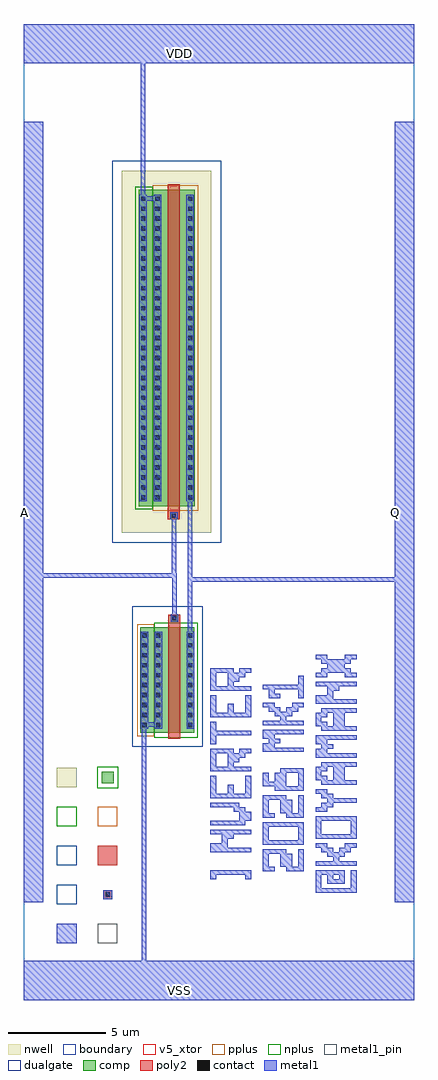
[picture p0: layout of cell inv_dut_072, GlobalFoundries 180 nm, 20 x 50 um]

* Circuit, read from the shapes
.subckt inv_dut_072 A Q VDD VSS
XM1 Q A VSS VSS nfet_05v0 w=5.4u l=0.6u
XM2 Q A VDD VDD pfet_05v0 w=16.2u l=0.6u
.ends

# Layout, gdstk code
from math import pi, radians
import gdstk
lib = gdstk.Library(unit=1e-6, precision=1e-09)
def R(c, l, rs):  # rectangles x0, y0, x1, y1
    for r in rs: c.add(gdstk.rectangle(r[:2], r[2:], *l))
def A(c, l, x, y, w, h, nx, ny, dx, dy):  # array of equal rectangles
    R(c, l, [(x+i*dx, y+j*dy, x+i*dx+w, y+j*dy+h) for i in range(nx) for j in range(ny)])
def P(c, l, *ps):  # polygons
    for p in ps: c.add(gdstk.Polygon(p, *l))
boundary = (0, 0)
nwell = (21, 0)
comp = (22, 0)
poly2 = (30, 0)
pplus = (31, 0)
nplus = (32, 0)
contact = (33, 0)
metal1 = (34, 0)
metal1_pin = (34, 10)
dualgate = (55, 0)
v5_xtor = (112, 1)

pfet = lib.new_cell('pfet')
R(pfet, nwell, [(-1.32,-0.99,3.27,17.57)])
R(pfet, comp, [(-0.46,0,2.41,16.2)])
R(pfet, poly2, [(0.31,-0.3,0.91,16.88)])
R(pfet, pplus, [(-0.63,-0.24,1.68,16.44)])
R(pfet, nplus, [(1.68,-0.17,2.58,16.37)])
A(pfet, contact, -0.34, 0.34, 0.22, 0.22, 1, 31, 0, 0.51)
A(pfet, contact, 1.34, 0.34, 0.22, 0.22, 1, 31, 0, 0.51)
A(pfet, contact, 2.07, 0.34, 0.22, 0.22, 1, 31, 0, 0.51)
R(pfet, contact, [(0.5,16.58,0.72,16.8)])
R(pfet, metal1, [(-0.42,0.26,-0.04,15.94), (1.26,0.26,1.64,15.94), (1.99,0.26,2.37,15.94), (0.42,16.5,0.8,16.88)])
R(pfet, dualgate, [(-1.82,-1.49,3.77,18.07)])
R(pfet, v5_xtor, [(-1.82,-1.49,3.77,18.07)])

nfet = lib.new_cell('nfet')
R(nfet, comp, [(-0.42,0,2.35,5.4)])
R(nfet, poly2, [(0.31,-0.66,0.91,5.7)])
R(nfet, pplus, [(1.64,-0.17,2.52,5.57)])
R(nfet, nplus, [(-0.59,-0.24,1.64,5.64)])
A(nfet, contact, -0.32, 0.295, 0.22, 0.22, 1, 10, 0, 0.51)
A(nfet, contact, 1.32, 0.295, 0.22, 0.22, 1, 10, 0, 0.51)
A(nfet, contact, 2.03, 0.295, 0.22, 0.22, 1, 10, 0, 0.51)
R(nfet, contact, [(0.5,-0.59,0.72,-0.37)])
R(nfet, metal1, [(0.42,-0.67,0.8,-0.29), (-0.4,0.215,-0.02,5.185), (1.24,0.215,1.62,5.185), (1.95,0.215,2.33,5.185)])
R(nfet, dualgate, [(-0.84,-1.08,2.77,6.11)])
R(nfet, v5_xtor, [(-0.84,-1.08,2.77,6.11)])

inv_dut_072 = lib.new_cell('inv_dut_072')
R(inv_dut_072, boundary, [(-10,-25,10,25)])
R(inv_dut_072, nwell, [(-8.3,-14.1,-7.3,-13.1)])
R(inv_dut_072, comp, [(-6,-13.9,-5.4,-13.3)])
R(inv_dut_072, poly2, [(-5.93,-19.83,-5.47,-19.37), (-6.2,-18.1,-5.2,-17.1)])
R(inv_dut_072, pplus, [(-6.2,-16.1,-5.2,-15.1)])
R(inv_dut_072, nplus, [(-8.3,-16.1,-7.3,-15.1), (-6.24,-14.14,-5.16,-13.06)])
R(inv_dut_072, contact, [(-5.81,-19.71,-5.59,-19.49)])
R(inv_dut_072, metal1, [(-10,-25,10,-23), (-8.3,-22.1,-7.3,-21.1), (-10,-20,-9,20), (9,-20,10,20), (-5.93,-19.83,-5.47,-19.37), (-10,23,10,25)])
P(inv_dut_072, metal1, [(-0.45,-18.805),(-0.45,-18.345),(1.65,-18.345),(1.65,-18.805),(1.35,-18.805),(1.35,-18.575),(-0.15,-18.575),(-0.15,-18.805)],
  [(4.95,-19.495),(4.95,-18.575),(5.85,-18.575),(5.85,-18.805),(6.15,-18.805),(6.15,-18.575),(4.95,-18.575),(4.95,-18.345),(6.45,-18.345),(6.45,-19.035),(5.55,-19.035),(5.55,-18.575),(5.25,-18.575),(5.25,-19.265),(6.75,-19.265),(6.75,-18.345),(7.05,-18.345),(7.05,-19.495)],
  [(2.25,-18.415),(2.25,-17.265),(3.45,-17.265),(3.45,-17.495),(3.75,-17.495),(3.75,-18.185),(4.05,-18.185),(4.05,-17.265),(4.35,-17.265),(4.35,-18.415),(3.45,-18.415),(3.45,-18.185),(3.15,-18.185),(3.15,-17.495),(2.55,-17.495),(2.55,-18.185),(2.85,-18.185),(2.85,-18.415)],
  [(4.95,-18.115),(4.95,-17.885),(5.85,-17.885),(5.85,-17.655),(5.55,-17.655),(5.55,-17.425),(5.25,-17.425),(5.25,-17.195),(4.95,-17.195),(4.95,-16.965),(5.55,-16.965),(5.55,-17.195),(5.85,-17.195),(5.85,-17.425),(6.15,-17.425),(6.15,-17.195),(6.45,-17.195),(6.45,-16.965),(7.05,-16.965),(7.05,-17.195),(6.75,-17.195),(6.75,-17.425),(6.45,-17.425),(6.45,-17.655),(6.15,-17.655),(6.15,-17.885),(7.05,-17.885),(7.05,-18.115)],
  [(-0.45,-17.425),(-0.45,-16.965),(0.15,-16.965),(0.15,-16.505),(-0.45,-16.505),(-0.45,-16.275),(1.65,-16.275),(1.65,-16.505),(0.75,-16.505),(0.75,-16.735),(0.45,-16.735),(0.45,-17.195),(1.65,-17.195),(1.65,-17.425)],
  [(2.25,-17.035),(2.25,-16.115),(2.55,-16.115),(2.55,-16.805),(4.05,-16.805),(4.05,-16.115),(2.25,-16.115),(2.25,-15.885),(4.35,-15.885),(4.35,-17.035)],
  [(4.95,-16.735),(4.95,-15.815),(5.25,-15.815),(5.25,-16.505),(6.75,-16.505),(6.75,-15.815),(4.95,-15.815),(4.95,-15.585),(7.05,-15.585),(7.05,-16.735)],
  [(-0.45,-16.045),(-0.45,-15.815),(1.05,-15.815),(1.05,-15.355),(0.75,-15.355),(0.75,-15.125),(-0.45,-15.125),(-0.45,-14.895),(1.05,-14.895),(1.05,-15.125),(1.35,-15.125),(1.35,-15.355),(1.65,-15.355),(1.65,-15.815),(1.35,-15.815),(1.35,-16.045)],
  [(2.25,-15.655),(2.25,-14.505),(3.45,-14.505),(3.45,-14.735),(3.75,-14.735),(3.75,-15.425),(4.05,-15.425),(4.05,-14.505),(4.35,-14.505),(4.35,-15.655),(3.45,-15.655),(3.45,-15.425),(3.15,-15.425),(3.15,-14.735),(2.55,-14.735),(2.55,-15.425),(2.85,-15.425),(2.85,-15.655)],
  [(4.95,-15.355),(4.95,-15.125),(5.25,-15.125),(5.25,-14.895),(5.55,-14.895),(5.55,-14.665),(5.25,-14.665),(5.25,-14.435),(4.95,-14.435),(4.95,-14.205),(5.55,-14.205),(5.55,-14.435),(5.85,-14.435),(5.85,-14.665),(7.05,-14.665),(7.05,-14.895),(5.85,-14.895),(5.85,-15.125),(5.55,-15.125),(5.55,-15.355)],
  [(-0.45,-14.665),(-0.45,-13.515),(-0.15,-13.515),(-0.15,-14.435),(0.45,-14.435),(0.45,-13.975),(0.75,-13.975),(0.75,-14.435),(1.35,-14.435),(1.35,-13.515),(1.65,-13.515),(1.65,-14.665)],
  [(2.85,-14.275),(2.85,-14.045),(2.25,-14.045),(2.25,-13.355),(2.55,-13.355),(2.55,-13.815),(2.85,-13.815),(2.85,-13.355),(3.45,-13.355),(3.45,-14.045),(4.05,-14.045),(4.05,-13.355),(3.15,-13.355),(3.15,-13.125),(4.35,-13.125),(4.35,-14.275)],
  [(5.25,-13.975),(5.25,-13.745),(4.95,-13.745),(4.95,-13.055),(5.55,-13.055),(5.55,-13.285),(5.25,-13.285),(5.25,-13.515),(5.55,-13.515),(5.55,-13.745),(5.85,-13.745),(5.85,-13.055),(5.25,-13.055),(5.25,-12.825),(7.05,-12.825),(7.05,-13.055),(6.45,-13.055),(6.45,-13.745),(7.05,-13.745),(7.05,-13.975)],
  [(-0.45,-13.285),(-0.45,-12.365),(-0.15,-12.365),(-0.15,-13.055),(0.45,-13.055),(0.45,-12.365),(-0.45,-12.365),(-0.45,-12.135),(0.75,-12.135),(0.75,-12.365),(1.05,-12.365),(1.05,-12.135),(1.65,-12.135),(1.65,-12.365),(1.35,-12.365),(1.35,-12.595),(1.05,-12.595),(1.05,-12.825),(0.75,-12.825),(0.75,-13.055),(1.65,-13.055),(1.65,-13.285)],
  [(4.95,-12.595),(4.95,-12.135),(5.25,-12.135),(5.25,-11.905),(4.95,-11.905),(4.95,-11.445),(7.05,-11.445),(7.05,-11.675),(5.55,-11.675),(5.55,-11.905),(5.85,-11.905),(5.85,-12.135),(5.55,-12.135),(5.55,-12.365),(7.05,-12.365),(7.05,-12.595)],
  [(2.25,-12.295),(2.25,-11.835),(2.55,-11.835),(2.55,-11.605),(2.25,-11.605),(2.25,-11.145),(4.35,-11.145),(4.35,-11.375),(2.85,-11.375),(2.85,-11.605),(3.15,-11.605),(3.15,-11.835),(2.85,-11.835),(2.85,-12.065),(4.35,-12.065),(4.35,-12.295)],
  [(-0.45,-11.905),(-0.45,-10.755),(-0.15,-10.755),(-0.15,-11.215),(1.65,-11.215),(1.65,-11.445),(-0.15,-11.445),(-0.15,-11.905)],
  [(5.25,-11.215),(5.25,-10.985),(4.95,-10.985),(4.95,-10.295),(5.55,-10.295),(5.55,-10.525),(5.25,-10.525),(5.25,-10.755),(5.55,-10.755),(5.55,-10.985),(5.85,-10.985),(5.85,-10.295),(5.25,-10.295),(5.25,-10.065),(7.05,-10.065),(7.05,-10.295),(6.45,-10.295),(6.45,-10.985),(7.05,-10.985),(7.05,-11.215)],
  [(2.25,-10.915),(2.25,-10.685),(3.15,-10.685),(3.15,-10.455),(2.85,-10.455),(2.85,-10.225),(2.55,-10.225),(2.55,-9.995),(2.25,-9.995),(2.25,-9.765),(2.85,-9.765),(2.85,-9.995),(3.15,-9.995),(3.15,-10.225),(3.45,-10.225),(3.45,-9.995),(3.75,-9.995),(3.75,-9.765),(4.35,-9.765),(4.35,-9.995),(4.05,-9.995),(4.05,-10.225),(3.75,-10.225),(3.75,-10.455),(3.45,-10.455),(3.45,-10.685),(4.35,-10.685),(4.35,-10.915)],
  [(-0.45,-10.525),(-0.45,-9.375),(-0.15,-9.375),(-0.15,-10.295),(0.45,-10.295),(0.45,-9.835),(0.75,-9.835),(0.75,-10.295),(1.35,-10.295),(1.35,-9.375),(1.65,-9.375),(1.65,-10.525)],
  [(4.95,-9.835),(4.95,-9.375),(5.55,-9.375),(5.55,-8.915),(4.95,-8.915),(4.95,-8.685),(7.05,-8.685),(7.05,-8.915),(6.15,-8.915),(6.15,-9.145),(5.85,-9.145),(5.85,-9.605),(7.05,-9.605),(7.05,-9.835)],
  [(2.55,-9.535),(2.55,-9.075),(2.25,-9.075),(2.25,-8.845),(4.05,-8.845),(4.05,-8.385),(4.35,-8.385),(4.35,-9.535),(4.05,-9.535),(4.05,-9.075),(2.85,-9.075),(2.85,-9.305),(3.15,-9.305),(3.15,-9.535)],
  [(-0.45,-9.145),(-0.45,-8.225),(-0.15,-8.225),(-0.15,-8.915),(0.45,-8.915),(0.45,-8.225),(-0.45,-8.225),(-0.45,-7.995),(0.75,-7.995),(0.75,-8.225),(1.05,-8.225),(1.05,-7.995),(1.65,-7.995),(1.65,-8.225),(1.35,-8.225),(1.35,-8.455),(1.05,-8.455),(1.05,-8.685),(0.75,-8.685),(0.75,-8.915),(1.65,-8.915),(1.65,-9.145)],
  [(4.95,-8.455),(4.95,-8.225),(5.25,-8.225),(5.25,-7.995),(5.55,-7.995),(5.55,-7.765),(5.25,-7.765),(5.25,-7.535),(4.95,-7.535),(4.95,-7.305),(5.55,-7.305),(5.55,-7.535),(6.45,-7.535),(6.45,-7.305),(7.05,-7.305),(7.05,-7.535),(6.75,-7.535),(6.75,-7.765),(6.45,-7.765),(6.45,-7.995),(6.75,-7.995),(6.75,-8.225),(7.05,-8.225),(7.05,-8.455),(6.45,-8.455),(6.45,-8.225),(5.55,-8.225),(5.55,-8.455)])
R(inv_dut_072, metal1_pin, [(-6.2,-22.1,-5.2,-21.1)])
R(inv_dut_072, dualgate, [(-8.3,-20.1,-7.3,-19.1), (-8.3,-18.1,-7.3,-17.1)])
R(inv_dut_072, v5_xtor, [(-8.3,-20.1,-7.3,-19.1)])
inv_dut_072.add(gdstk.FlexPath([(-3.07,16.055),(-3.895,16.055),(-3.895,23.43)], 0.23, ends="flush", simple_path=True, layer=34, datatype=0))  # metal1
inv_dut_072.add(gdstk.FlexPath([(-1.485,0.875),(-1.485,-3.46),(9.615,-3.46)], 0.23, ends="flush", simple_path=True, layer=34, datatype=0))  # metal1
inv_dut_072.add(gdstk.FlexPath([(-2.28,-5.54),(-2.28,-3.25),(-9.42,-3.25)], 0.23, ends="flush", simple_path=True, layer=34, datatype=0))  # metal1
inv_dut_072.add(gdstk.FlexPath([(-2.31,-0.07),(-2.31,-3.245),(-9.45,-3.245)], 0.23, ends="flush", simple_path=True, layer=34, datatype=0))  # metal1
inv_dut_072.add(gdstk.FlexPath([(-1.475,-6.395),(-1.475,-3.47),(9.615,-3.47)], 0.23, ends="flush", simple_path=True, layer=34, datatype=0))  # metal1
inv_dut_072.add(gdstk.FlexPath([(-2.97,-10.88),(-3.84,-10.88),(-3.84,-23.765)], 0.23, ends="flush", simple_path=True, layer=34, datatype=0))  # metal1
inv_dut_072.add(gdstk.Reference(pfet, (-1.705,16.5), rotation=pi))
inv_dut_072.add(gdstk.Reference(nfet, (-1.68,-5.915), rotation=pi))
inv_dut_072.add(gdstk.Label('VDD', (-2,23.5), layer=34, texttype=10))
inv_dut_072.add(gdstk.Label('VSS', (-2,-24.5), layer=34, texttype=10))
inv_dut_072.add(gdstk.Label('A', (-9.97,0), layer=34, texttype=10))
inv_dut_072.add(gdstk.Label('Q', (9.03,0), layer=34, texttype=10))

lib.write_gds('inv_dut_072.gds')
